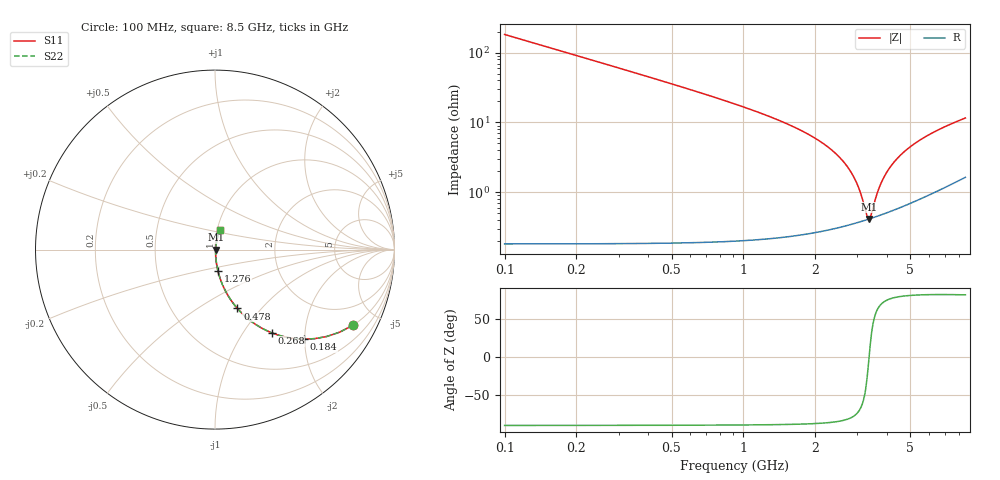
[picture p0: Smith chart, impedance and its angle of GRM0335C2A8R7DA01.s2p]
!Murata Part Number: GRM0335C2A8R7DA01
!These Parameters are Measured in Series Mode Connection
!Data Generated on Mar 30, 2021
!  o--ll--o
!Port1  Port2
!  o------o
!Operation Temp=25[degC], DC Bias Voltage=0[V]
!Freq. Start=100[MHz] Stop=9[GHz] 401[Steps]
# Hz S RI R 50
!Freq.(Hz) S11(Real) S11(Imag) S21(Real) S21(Imag) S12(Real) S12(Imag) S22(Real) S22(Imag)
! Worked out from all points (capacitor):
!   401 points, 100 MHz to 8.5 GHz, reference 50 ohm
!   read as one part in series: C = 8.7 pF near 142 MHz
!   lowest |Z| = 410 mohm at 3.355 GHz (marker M1)
!   series resonance near 3.358 GHz, so ESL is about 260 pH
!   S11 on the Smith chart (normalised r, x): 100 MHz: 1.00, -3.66; 184 MHz: 1.00, -1.98; 268 MHz: 1.00, -1.36; 478 MHz: 1.00, -0.75; 1.276 GHz: 1.00, -0.25; 8.5 GHz: 1.03, +0.23
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1e8  0.7694 -0.4207  0.2306 0.4207  0.2306 0.4207  0.7694 -0.4207
1.84e8  0.4956 -0.4991  0.5044 0.4991  0.5044 0.4991  0.4956 -0.4991
2.68e8  0.3155 -0.4634  0.6845 0.4634  0.6845 0.4634  0.3155 -0.4634
3.52e8  0.2098 -0.4054  0.7902 0.4054  0.7902 0.4054  0.2098 -0.4054
4.78e8  0.1245 -0.3277  0.8755 0.3277  0.8755 0.3277  0.1245 -0.3277
8.14e8  0.0445 -0.2017  0.9555 0.2017  0.9555 0.2017  0.0445 -0.2017
1.276e9  0.0168 -0.1203  0.9832 0.1203  0.9832 0.1203  0.0168 -0.1203
1.507e9  0.0115 -0.0956  0.9885 0.0956  0.9885 0.0956  0.0115 -0.0956
2.41e9  0.00432 -0.0365  0.9957 0.0365  0.9957 0.0365  0.00432 -0.0365
2.914e9  0.00376 -0.0154  0.9962 0.0154  0.9962 0.0154  0.00376 -0.0154
3.082e9  0.00381 -0.00928  0.9962 0.00928  0.9962 0.00928  0.00381 -0.00928
3.292e9  0.004 -0.00215  0.996 0.00215  0.996 0.00215  0.004 -0.00215
3.355e9  0.00408 -0.000107  0.9959 0.000107  0.9959 0.000107  0.00408 -0.000107
3.418e9  0.00417 0.0019  0.9958 -0.0019  0.9958 -0.0019  0.00417 0.0019
3.628e9  0.00454 0.00832  0.9955 -0.00832  0.9955 -0.00832  0.00454 0.00832
3.796e9  0.00489 0.0132  0.9951 -0.0132  0.9951 -0.0132  0.00489 0.0132
4.027e9  0.00547 0.0196  0.9945 -0.0196  0.9945 -0.0196  0.00547 0.0196
4.3e9  0.00626 0.0268  0.9937 -0.0268  0.9937 -0.0268  0.00626 0.0268
4.888e9  0.00831 0.041  0.9917 -0.041  0.9917 -0.041  0.00831 0.041
5.707e9  0.0118 0.0589  0.9882 -0.0589  0.9882 -0.0589  0.0118 0.0589
7.114e9  0.0194 0.0859  0.9806 -0.0859  0.9806 -0.0859  0.0194 0.0859
8.5e9  0.0283 0.1094  0.9717 -0.1094  0.9717 -0.1094  0.0283 0.1094
